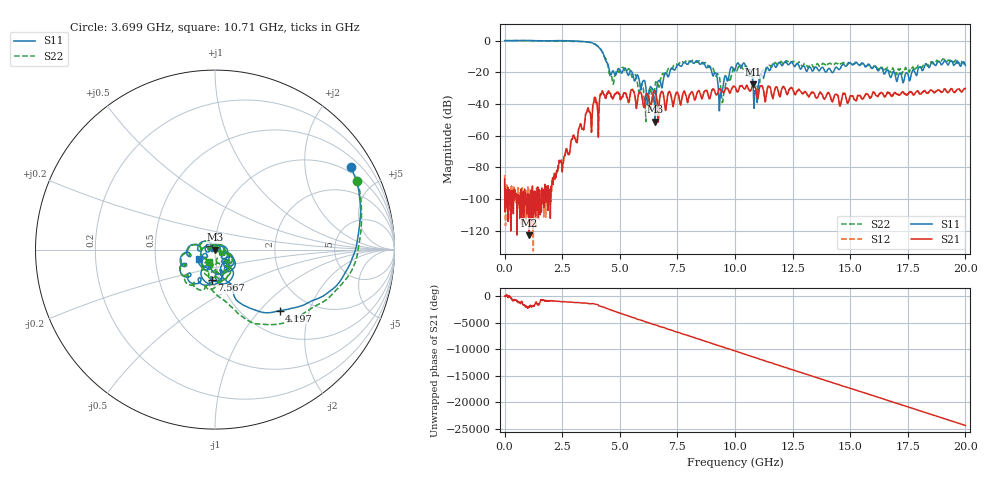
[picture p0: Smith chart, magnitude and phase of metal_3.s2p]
#  HZ  S  RI  R  50.00
! Rohde & Schwarz Vector Network Analyzer
! Rohde-Schwarz,ZNB20-2Port,1311601062102128,3.60
! Created: UTC 4/29/2024, 3:48:34 PM
! freq[Hz]  re:S11  im:S11  re:S21  im:S21  re:S12  im:S12  re:S22  im:S22
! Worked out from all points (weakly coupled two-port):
!   2007 points, 100 kHz to 20 GHz, reference 50 ohm
!   highest |S21| = -27.63 dB at 10.8 GHz (marker M1); lowest = -123.0 dB at 1.067 GHz (marker M2)
!   lowest |S11| = -51.2 dB at 6.53 GHz (marker M3), VSWR 1.01, Z = 50.3 - j0.107 ohm
!   |S11| at or under -10 dB: 4.327 GHz to end of sweep
!   |S22| runs from -51.1 to 0.1 dB; largest |S21 - S12| = 0.0021
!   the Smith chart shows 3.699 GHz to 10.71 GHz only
!   S11 on the Smith chart (normalised r, x): 3.699 GHz: 0.78, +3.38; 4.197 GHz: 1.44, -1.30; 7.567 GHz: 0.91, -0.32; 10.71 GHz: 0.83, -0.09
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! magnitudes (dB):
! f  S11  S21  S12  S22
! 100 kHz  0.0  -87.6  -84.8  0.1
! 1.067 GHz  0.1  -123.0  -98.4  0.0
! 2.253 GHz  0.0  -82.5  -82.4  -0.3
! 3.34 GHz  -0.6  -55.4  -55.0  -0.6
! 3.699 GHz  -1.0  -45.2  -45.1  -1.1
! 4.197 GHz  -6.1  -33.8  -34.2  -6.1
! 4.646 GHz  -20.6  -35.3  -35.4  -22.8
! 5.394 GHz  -21.5  -38.7  -38.8  -17.8
! 6.132 GHz  -29.8  -34.5  -34.5  -51.1
! 6.53 GHz  -51.2  -31.9  -31.9  -28.5
! 6.67 GHz  -25.5  -51.5  -51.5  -27.9
! 7.567 GHz  -15.3  -35.5  -35.6  -14.7
! 8.883 GHz  -16.0  -36.7  -36.7  -17.1
! 9.372 GHz  -33.4  -31.1  -31.2  -28.4
! 10 GHz  -18.5  -29.3  -29.4  -18.0
! 10.71 GHz  -19.6  -30.6  -30.6  -22.5
! 10.8 GHz  -32.6  -27.6  -27.7  -24.8
! 10.9 GHz  -31.5  -30.6  -30.7  -31.7
! 11.66 GHz  -14.7  -35.9  -35.7  -14.9
! 13.34 GHz  -19.0  -32.5  -32.5  -15.2
! 16.67 GHz  -19.9  -32.8  -33.0  -19.5
! 20 GHz  -15.8  -30.3  -30.3  -14.8
